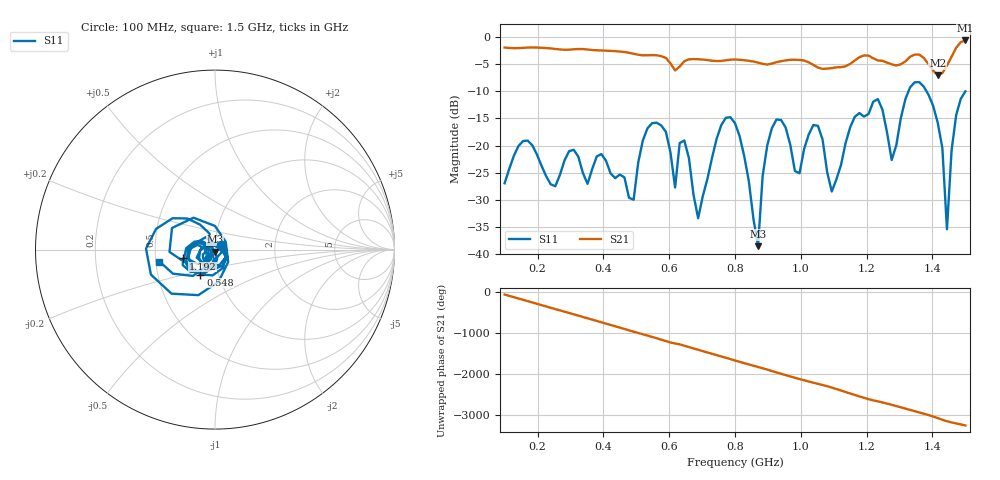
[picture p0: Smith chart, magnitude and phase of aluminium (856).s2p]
! NanoVNA-App
! Date: 2025-09-25 15:01:57
! Start: 100MHz Stop: 1,5GHz Points: 101
! S-Parameter data: F S11 S21 S12 S22
# Hz S RI R 50
!  Frequency  S11_Real  S11_Imag  S21_Real  S21_Imag  S12_Real  S12_Imag  S22_Real  S22_Imag
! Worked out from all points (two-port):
!   101 points, 100 MHz to 1.5 GHz, reference 50 ohm
!   highest |S21| = -0.61 dB at 1.5 GHz (marker M1); lowest = -7.0 dB at 1.416 GHz (marker M2)
!   |S21| within 3 dB of the highest: start of sweep to 580.4 MHz; 1.458 GHz to end of sweep (the widest 2 of 4)
!   lowest |S11| = -38.6 dB at 870 MHz (marker M3), VSWR 1.02, Z = 50 - j1.18 ohm
!   |S11| at or under -10 dB: start of sweep to 1.327 GHz; 1.382 GHz to 1.5 GHz (118 MHz wide, 8.19 % of centre)
!   S12 and S22 are empty: the file has one direction only
!   S11 on the Smith chart (normalised r, x): 100 MHz: 1.07, +0.06; 548 MHz: 0.82, -0.23; 1.192 GHz: 0.69, -0.07; 1.5 GHz: 0.52, -0.08
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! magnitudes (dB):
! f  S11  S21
! 100 MHz  -27.0  -1.9
! 156 MHz  -19.2  -2.0
! 338 MHz  -25.1  -2.2
! 492 MHz  -30.0  -3.1
! 548 MHz  -15.9  -3.3
! 576 MHz  -16.3  -3.5
! 618 MHz  -27.7  -6.1
! 646 MHz  -19.1  -4.4
! 688 MHz  -33.4  -4.1
! 800 MHz  -15.9  -4.1
! 870 MHz  -38.6  -4.7
! 912 MHz  -16.8  -4.9
! 996 MHz  -25.1  -4.2
! 1.038 GHz  -16.2  -5.1
! 1.094 GHz  -28.5  -5.7
! 1.192 GHz  -14.7  -3.4
! 1.276 GHz  -22.7  -5.0
! 1.346 GHz  -8.3  -3.2
! 1.416 GHz  -15.8  -7.0
! 1.444 GHz  -35.4  -5.2
! 1.472 GHz  -14.4  -2.0
! 1.5 GHz  -10.0  -0.6
